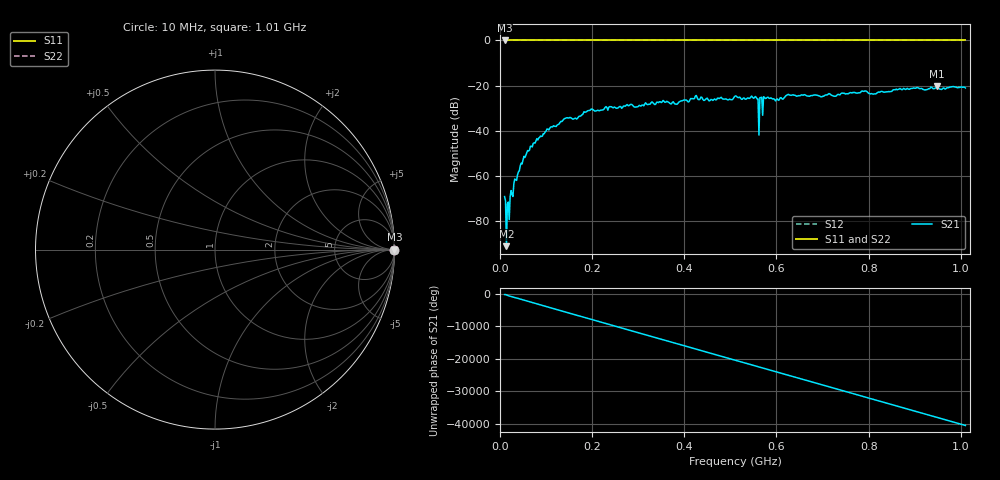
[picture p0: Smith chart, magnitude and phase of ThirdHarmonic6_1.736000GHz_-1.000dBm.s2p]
! 8/16/2025 8:55:23 PM
! C:\ANRITSUVNA\TEMP\TEMP.S2P
! CHANNEL.1
! TR.MEASUREMENT
! RAW.DATA
! RF.CORRECTION.OFF
! AVERAGING.OFF
! IF.BANDWIDTH: 5KHZ
! SWEEPTYPE:  FREQ.SWEEP(Linear)
! Reference Plane Port Info
! PORT:  PORT1  PORT2
! DISTANCE:  0  m  0  m
! TIME:  0  s  0  s
! PHASE.OFFSET:  0  deg.  0  deg.
! LOSS:  0  dB  0  dB
! REF.LOSS:  0  dB  0  dB
! REF.FREQ:  0  Hz  0  Hz
! Power Info
! POWER:  -20  dBm  -20  dBm
! EFF.POWER:  -20  dBm  -20  dBm
! SOURCE.ATTEN:  0  dB  0  dB
! TEST.ATTEN:  0  dB  0  dB
# GHZ S RI R 50.0
! FREQ.GHZ  S11RE  S11IM  S21RE  S21IM  S12RE  S12IM  S22RE  S22IM
!; PortSelection: Port_12
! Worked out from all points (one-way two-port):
!   501 points, 10 MHz to 1.01 GHz, reference 50 ohm
!   highest |S21| = -20.42 dB at 948 MHz (marker M1); lowest = -91.3 dB at 14 MHz (marker M2)
!   lowest |S11| = 0.0 dB at 10 MHz (marker M3)
!   |S11| at or under -10 dB: nowhere
!   |S22| runs from 0.0 to 0.0 dB; largest |S21 - S12| = 1.1
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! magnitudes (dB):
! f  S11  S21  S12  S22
! 10 MHz  0.0  -69.3  0.0  0.0
! 14 MHz  0.0  -91.3  0.0  0.0
! 18 MHz  0.0  -71.7  0.0  0.0
! 28 MHz  0.0  -69.2  0.0  0.0
! 48 MHz  0.0  -54.8  0.0  0.0
! 76 MHz  0.0  -45.6  0.0  0.0
! 142 MHz  0.0  -34.5  0.0  0.0
! 178 MHz  0.0  -33.0  0.0  0.0
! 198 MHz  0.0  -30.4  0.0  0.0
! 344 MHz  0.0  -27.6  0.0  0.0
! 382 MHz  0.0  -28.2  0.0  0.0
! 424 MHz  0.0  -24.7  0.0  0.0
! 510 MHz  0.0  -24.7  0.0  0.0
! 556 MHz  0.0  -25.2  0.0  0.0
! 558 MHz  0.0  -26.0  0.0  0.0
! 566 MHz  0.0  -25.3  0.0  0.0
! 568 MHz  0.0  -25.2  0.0  0.0
! 576 MHz  0.0  -25.7  0.0  0.0
! 678 MHz  0.0  -24.5  0.0  0.0
! 844 MHz  0.0  -22.7  0.0  0.0
! 948 MHz  0.0  -20.4  0.0  0.0
! 1.01 GHz  0.0  -21.1  0.0  0.0
